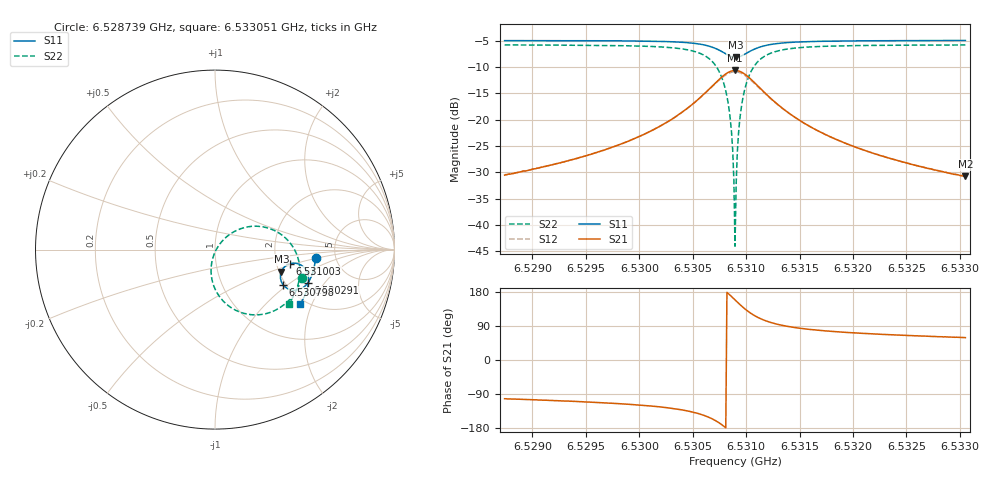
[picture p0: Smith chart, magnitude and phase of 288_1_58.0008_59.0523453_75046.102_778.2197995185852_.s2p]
#  HZ  S  RI  R  50.00
! Rohde & Schwarz Vector Network Analyzer
! Rohde-Schwarz,ZNB20-2Port,1311601062101988,3.16
! Created: UTC 3/21/2024, 1:03:09 AM
! freq[Hz]  re:S11  im:S11  re:S21  im:S21  re:S12  im:S12  re:S22  im:S22
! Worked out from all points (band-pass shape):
!   401 points, 6.528739 GHz to 6.533051 GHz, reference 50 ohm
!   highest |S21| = -10.67 dB at 6.530895 GHz (marker M1); lowest = -30.8 dB at 6.533051 GHz (marker M2)
!   |S21| within 3 dB of the highest: 6.53068 GHz to 6.531112 GHz (431.5 kHz wide, 0.00661 % of centre)
!   lowest |S11| = -8.2 dB at 6.530906 GHz (marker M3), VSWR 2.28, Z = 103 - j29.6 ohm
!   |S11| at or under -10 dB: nowhere
!   |S22| runs from -44.0 to -5.8 dB; largest |S21 - S12| = 0.011
!   S11 on the Smith chart (normalised r, x): 6.528739 GHz: 3.50, -0.46; 6.530291 GHz: 2.59, -1.39; 6.530798 GHz: 1.93, -0.93; 6.531003 GHz: 2.38, -0.46; 6.533051 GHz: 1.86, -1.65
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6.5287391e9  0.56 -0.045  -0.00629 -0.029  -0.00679 -0.029  0.4867 -0.1566
6.5294614e9  0.551 -0.1047  -0.0151 -0.0415  -0.0162 -0.0412  0.4572 -0.2215
6.5301837e9  0.5243 -0.1752  -0.0472 -0.0712  -0.0492 -0.07  0.3792 -0.3116
6.5302915e9  0.5155 -0.1881  -0.0598 -0.079  -0.0619 -0.0771  0.3528 -0.3291
6.5306364e9  0.449 -0.2267  -0.1616 -0.095  -0.1639 -0.0885  0.1615 -0.3552
6.5307335e9  0.4082 -0.2194  -0.2244 -0.0666  -0.2233 -0.0573  0.0569 -0.2976
6.5307981e9  0.3794 -0.1961  -0.2662 -0.0163  -0.261 -0.00692  -0.00531 -0.2064
6.5308413e9  0.3668 -0.1696  -0.2817 0.0343  -0.2735 0.0419  -0.0221 -0.1202
6.5308628e9  0.3644 -0.1541  -0.2824 0.0628  -0.2731 0.0692  -0.0183 -0.0731
6.5308736e9  0.3644 -0.1459  -0.2808 0.0774  -0.2709 0.083  -0.013 -0.0496
6.5308844e9  0.3654 -0.1378  -0.2772 0.0919  -0.2674 0.0966  -0.00512 -0.0264
6.5308952e9  0.3673 -0.1299  -0.2728 0.1062  -0.2626 0.1099  0.00483 -0.00401
6.5309059e9  0.3699 -0.1222  -0.2667 0.1199  -0.2565 0.1226  0.0171 0.0172
6.5309167e9  0.3736 -0.1148  -0.2593 0.1329  -0.2492 0.1348  0.0315 0.037
6.5309275e9  0.3778 -0.108  -0.2508 0.145  -0.2409 0.1459  0.0473 0.0553
6.5309491e9  0.388 -0.0959  -0.2309 0.1658  -0.2219 0.1653  0.0835 0.086
6.531003e9  0.4196 -0.0782  -0.1736 0.1968  -0.1671 0.1943  0.1831 0.1269
6.5310784e9  0.4606 -0.0783  -0.1016 0.1992  -0.0982 0.1965  0.3037 0.1174
6.5311862e9  0.4965 -0.0998  -0.0396 0.1701  -0.0378 0.1686  0.4039 0.0536
6.5316174e9  0.5216 -0.1785  0.0144 0.0824  0.0155 0.082  0.473 -0.1308
6.5323397e9  0.5025 -0.2507  0.0169 0.0396  0.0176 0.0392  0.4447 -0.2448
6.5330512e9  0.4754 -0.3034  0.0148 0.0247  0.0153 0.0246  0.4096 -0.3053
